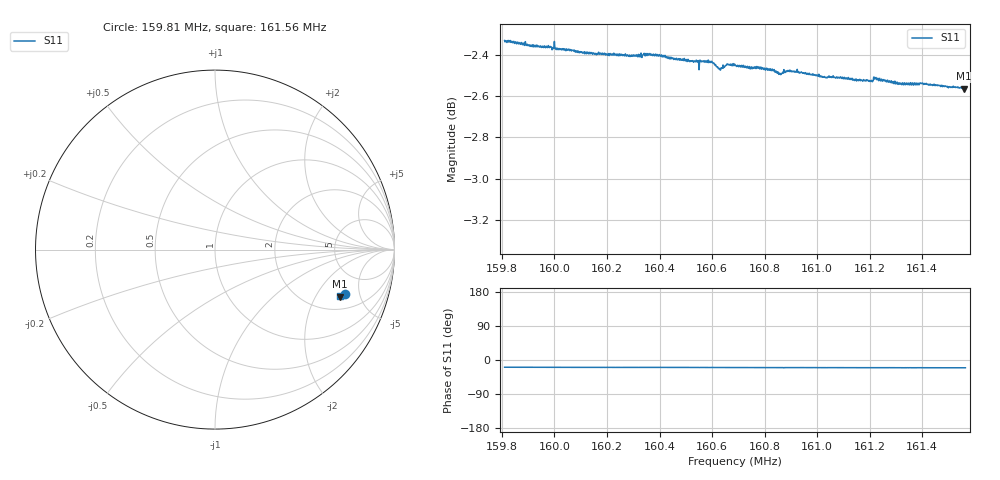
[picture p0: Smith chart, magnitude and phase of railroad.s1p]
! Calibrated averaged scanner-service zoom
# Hz S RI R 50
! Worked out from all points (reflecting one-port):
!   1001 points, 159.81 MHz to 161.56 MHz, reference 50 ohm
!   lowest |S11| = -2.6 dB at 161.56 MHz (marker M1), VSWR 6.83, Z = 139 - j163 ohm
!   phase of S11 starts at -19 deg and turns -2 deg over the sweep
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1.5981e8  0.7231 -0.2494
1.599153e8  0.7195 -0.2515
1.599767e8  0.7201 -0.2511
1.600294e8  0.7179 -0.2521
1.601522e8  0.7154 -0.2536
1.602488e8  0.7157 -0.2531
1.602891e8  0.7144 -0.2536
1.603558e8  0.7159 -0.253
1.604681e8  0.7126 -0.2543
1.605962e8  0.711 -0.2555
1.606296e8  0.7093 -0.2523
1.606629e8  0.7097 -0.2562
1.606875e8  0.7098 -0.2555
1.608244e8  0.7072 -0.2563
1.60863e8  0.7042 -0.2594
1.608648e8  0.7047 -0.2588
1.608823e8  0.7064 -0.2579
1.608858e8  0.7063 -0.2575
1.609069e8  0.7065 -0.2568
1.61028e8  0.7035 -0.2587
1.611262e8  0.7028 -0.2585
1.612035e8  0.701 -0.2597
1.612245e8  0.7031 -0.2587
1.613158e8  0.6995 -0.2603
1.613456e8  0.6991 -0.261
1.614e8  0.6996 -0.2608
1.615597e8  0.6969 -0.262
1.61565e8  0.6973 -0.2613
